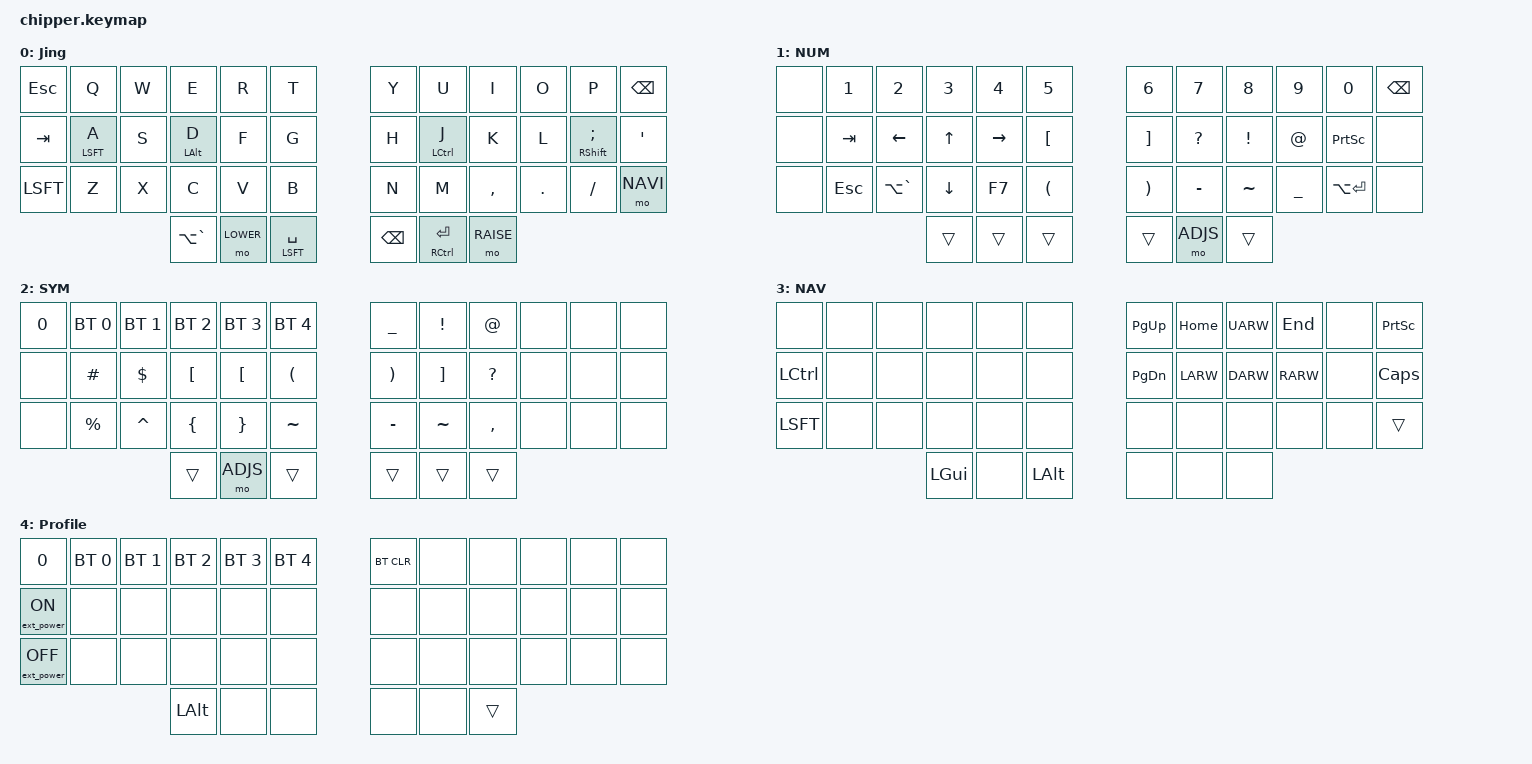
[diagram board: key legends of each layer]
/*
 * Copyright (c) 2020 The ZMK Contributors
 *
 * SPDX-License-Identifier: MIT
 */

#include <behaviors.dtsi>
#include <dt-bindings/zmk/keys.h>
#include <dt-bindings/zmk/bt.h>
#include <dt-bindings/zmk/ext_power.h>

// defines readable layer index
#define DEFAULT 0
#define LOWER   1
#define RAISE   2
#define NAVI    3
#define ADJS    4

/ {
        
        chosen {
		zmk,kscan = &kscan0;
		zmk,matrix_transform = &default_transform;
	};

        keymap {
                compatible = "zmk,keymap";

                default_layer { 
// DEFAULT LAYER
// .--------------------------------------------------------------.       .-----------------------------------------------------------.
// |   ESC        |    Q    |    W   |   E    |    R    |    T    |       |   Y   |    U    |    I    |    O    |     P    |   BKSP   |
// |--------------+---------+--------+--------+---------+---------|       |-------+---------+---------+---------+----------+----------|
// |   Tab        |    A    |    S   |   D    |    F    |    G    |       |   H   |    J    |    K    |    L    |     ;    |     '    |
// |--------------+---------+--------+--------+---------+---------|       |-------+---------+---------+---------+----------+----------|
// |   SHFT       |    Z    |    X   |   C    |    V    |    B    |       |   N   |    M    |    ,    |    .    |     /    |   NAV    |
// '---------------------------------+--------+---------+---------+       |-------+---------+---------+-------------------------------'
//                                |  LA(GRAVE)  |  LOWER  |   SPC   |     |  BSPC |   RET   |  RAISE  |
//                                   '--------+---------+---------'       '-------+---------+---------'
                  bindings = <
        &kp ESC        &kp Q    &kp W    &kp E    &kp R     &kp T          &kp Y    &kp U      &kp I     &kp O     &kp P      &kp BKSP
        &kp TAB    &mt LSFT A   &kp S    &mt LALT D  &kp F   &kp G         &kp H   &mt LCTL J  &kp K     &kp L    &mt RSHFT SCLN   &kp QUOT
        &kp LSFT       &kp Z    &kp X    &kp C    &kp V     &kp B          &kp N     &kp M     &kp CMMA  &kp DOT   &kp FSLH   &mo NAVI
                           &kp LA(GRAVE)  &mo LOWER  &mt LSFT SPC          &kp BSPC  &mt RCTRL RET  &mo RAISE
                            >;

                  label = "Jing";
                };


                lower_layer {
// LOWER Layer: Media and Number Pad
// .--------------------------------------------------------------.    .-----------------------------------------------------------.
// |              |    1 !  |   2 @  |   3 #  |   4 $   |   5 %   |    |  6 ^  |   7 &   |   8 *   |   9 (   |   0 )    |   BKSP   |
// |--------------+---------+--------+--------+---------+---------|    |-------+---------+---------+---------+----------+----------|
// |              |   Tab   |   ←    |    ↑   |    →  　|    [    |    |   ]   |    ?    |    !    |    @    |  PrtScn  |          |
// |--------------+---------+--------+--------+---------+---------|    |-------+---------+---------+---------+----------+----------|
// |              | ESC    | LA(GRAVE) |  ↓   |   F7    |    (    |    |   )   |    -    |    ~    |    _    |  LA(RET) |          |
// '---------------------------------+--------+---------+---------+    |-------+---------+---------+-------------------------------'
//                                   |        |         |         |    |       |         |         |
//                                   '--------+---------+---------'    '-------+---------+---------'

                  bindings = <
          &none  &kp NUM_1  &kp NUM_2  &kp NUM_3  &kp NUM_4  &kp NUM_5   &kp NUM_6  &kp NUM_7  &kp NUM_8  &kp NUM_9  &kp NUM_0  &kp BKSP
          &none   &kp TAB   &kp LEFT   &kp UP   &kp RIGHT   &kp LBKT     &kp RBKT  &kp QMARK  &kp EXCL   &kp AT  &kp PSCRN  &none
          &none   &kp ESC   &kp LA(GRAVE)  &kp DOWN   &kp F7    &kp LPAR     &kp RPAR  &kp MINUS  &kp TILDE  &kp UNDER   &kp LA(RET)  &none
                                       &trans    &trans    &trans        &trans     &mo ADJS     &trans
                            >;
                  label = "NUM";
                };



                raise_layer {
// RAISE Layer: Special Chars
// .--------------------------------------------------------------.    .-----------------------------------------------------------.
// |       0      |  BT 0   |  BT 1  |  BT 2  |  BT 3   |  BT 4   |    |   _   |    !    |    @    |         |          |          |
// |--------------+---------+--------+--------+---------+---------|    |-------+---------+---------+---------+----------+----------|
// |              |    #    |    $   |        |    [    |    (    |    |   )   |    ]    |    ?    |         |          |          |
// |--------------+---------+--------+--------+---------+---------|    |-------+---------+---------+---------+----------+----------|
// |              |    %    |    ^   |   {    |    }    |    ~    |    |   -   |    ~    |    ,    |         |          |          |
// '---------------------------------+--------+---------+---------+    |-------+---------+---------+-------------------------------'
//                                   |        |         |         |    |       |         |         |
//                                   '--------+---------+---------'    '-------+---------+---------'
                        bindings = <
   &kp NUM_0   &bt BT_SEL 0  &bt BT_SEL 1  &bt BT_SEL 2  &bt BT_SEL 3  &bt BT_SEL 4     &kp UNDER  &kp EXCL   &kp AT     &none  &none  &none
        &none    &kp HASH   &kp DLLR  &kp LBKT  &kp LBKT  &kp LPAR     &kp RPAR   &kp RBKT   &kp QMARK  &none  &none  &none
        &none    &kp PRCNT  &kp CARET &kp LBRC  &kp RBRC  &kp TILDE    &kp MINUS  &kp TILDE  &kp COMMA  &none  &none  &none
                                      &trans    &mo ADJS    &trans       &trans     &trans     &trans
                        >;
                        label = "SYM";
                };


              nav_layer {
// NAVIGATION Layer: Directions
// .--------------------------------------------------------------.    .-----------------------------------------------------------.
// |              |         |        |        |         |         |    | PG UP | PG HOME |   UP    |  PG END |          |  PrtScn  |
// |--------------+---------+--------+--------+---------+---------|    |-------+---------+---------+---------+----------+----------|
// |     CTRL     |         |        |        |         |         |    | PF DN |  LEFT   |  DOWN   |  RIGHT  |          | CAPS LCK |
// |--------------+---------+--------+--------+---------+---------|    |-------+---------+---------+---------+----------+----------|
// |     SHIFT    |         |        |        |         |         |    |       |         |         |         |          |          |
// '---------------------------------+--------+---------+---------+    |-------+---------+---------+-------------------------------'
//                                   |  GUI   |         |   ALT   |    |       |         |         |
//                                   '--------+---------+---------'    '-------+---------+---------'
                        bindings = <
          &none     &none   &none    &none     &none    &none        &kp PG_UP  &kp HOME   &kp UARW   &kp END   &none  &kp PSCRN
          &kp LCTL  &none   &none    &none     &none    &none        &kp PG_DN  &kp LARW   &kp DARW   &kp RARW  &none  &kp CLCK
          &kp LSFT  &none   &none    &none     &none    &none        &none      &none      &none      &none     &none  &trans
                                     &kp LGUI  &none    &kp LALT     &none      &none      &none
                        >;
                        label = "NAV";
                };


                adjust_layer {
// ADJUST Layer: Setting and Configurations
// .------------------------------------------------------------.    .-------------------------------------------------------------.
// |      0     |  BT 0   |  BT 1  |  BT 2  |  BT 3   |  BT 4   |    |  BT CLR |         |         |         |          |          |
// |------------+---------+--------+--------+---------+---------|    |---------+---------+---------+---------+----------+----------|
// | ExtPow ON  |         |        |        |         |         |    |         |         |         |         |          |          |
// |------------+---------+--------+--------+---------+---------|    |---------+---------+---------+---------+----------+----------|
// | ExtPow OFF |         |        |        |         |         |    |         |         |         |         |          |          |
// '-------------------------------+--------+---------+---------+    |---------+---------+---------+-------------------------------'
//                                 |        |         |         |    |         |         |         |
//                                 '--------+---------+---------'    '---------+---------+---------'

                        bindings = <
    &kp NUM_0           &bt BT_SEL 0  &bt BT_SEL 1  &bt BT_SEL 2  &bt BT_SEL 3  &bt BT_SEL 4       &bt BT_CLR   &none     &none     &none    &none    &none
    &ext_power EP_ON    &none         &none         &none         &none         &none              &none        &none     &none     &none    &none    &none
    &ext_power EP_OFF   &none         &none         &none         &none         &none              &none       &none      &none     &none    &none    &none
                                                    &kp LALT      &none         &none              &none       &none      &trans
                        >;
                        label = "Profile";
                };
        };
};
